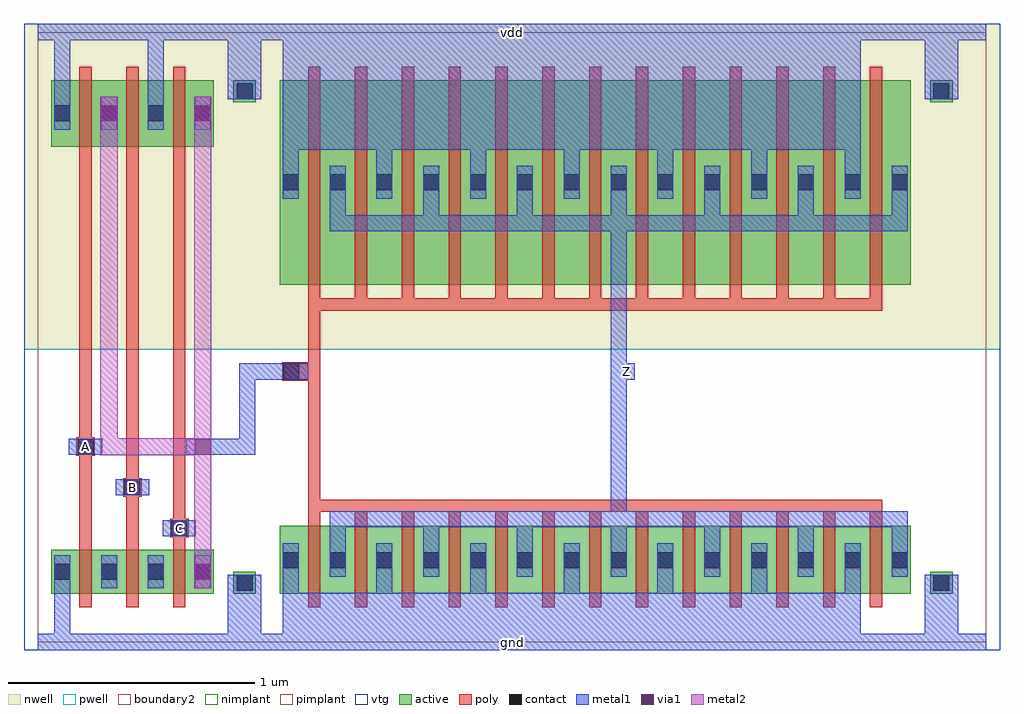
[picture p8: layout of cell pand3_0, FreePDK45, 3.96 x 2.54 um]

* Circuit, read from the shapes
.subckt pand3_0 A B C Z gnd vdd
M1 pnand3_1_0/nmos_m1_w0_180_a_p_3/D A gnd gnd nfet w=0.18u l=0.05u
M2 pnand3_1_0/nmos_m1_w0_180_a_p_4/D B pnand3_1_0/nmos_m1_w0_180_a_p_3/D gnd nfet w=0.18u l=0.05u
M3 pinv_16_1/A C pnand3_1_0/nmos_m1_w0_180_a_p_4/D gnd nfet w=0.18u l=0.05u
M4 Z pinv_16_1/A gnd gnd nfet w=0.2775u l=0.05u m=13
M5 pinv_16_1/A A vdd vdd pfet w=0.27u l=0.05u
M6 vdd B pinv_16_1/A vdd pfet w=0.27u l=0.05u
M7 pinv_16_1/A C vdd vdd pfet w=0.27u l=0.05u
M8 Z pinv_16_1/A vdd vdd pfet w=0.83u l=0.05u m=13
.ends

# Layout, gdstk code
import gdstk
lib = gdstk.Library(unit=1e-6, precision=5e-10)
def R(c, l, rs):  # rectangles x0, y0, x1, y1
    for r in rs: c.add(gdstk.rectangle(r[:2], r[2:], *l))
def A(c, l, x, y, w, h, nx, ny, dx, dy):  # array of equal rectangles
    R(c, l, [(x+i*dx, y+j*dy, x+i*dx+w, y+j*dy+h) for i in range(nx) for j in range(ny)])
active = (1, 0)
pwell = (2, 0)
nwell = (3, 0)
nimplant = (4, 0)
pimplant = (5, 0)
vtg = (6, 0)
poly = (9, 0)
contact = (10, 0)
metal1 = (11, 0)
via1 = (12, 0)
metal2 = (13, 0)
boundary2 = (239, 0)

contact_11 = lib.new_cell('contact_11')
R(contact_11, active, [(0,0.0225,0.09,0.1125)])
R(contact_11, nwell, [(-0.055,-0.0325,0.145,0.1675)])
R(contact_11, pimplant, [(0,0.0225,0.09,0.1125)])
R(contact_11, contact, [(0.0125,0.035,0.0775,0.1)])
R(contact_11, metal1, [(0.0125,0,0.0775,0.135)])

pmos_m1_w0_270_a_p = lib.new_cell('pmos_m1_w0_270_a_p')
R(pmos_m1_w0_270_a_p, active, [(0,0,0.28,0.27)])
R(pmos_m1_w0_270_a_p, nwell, [(-0.055,-0.055,0.335,0.325)])
R(pmos_m1_w0_270_a_p, pimplant, [(0,0,0.28,0.27)])
R(pmos_m1_w0_270_a_p, vtg, [(-0.055,-0.055,0.335,0.325)])
R(pmos_m1_w0_270_a_p, poly, [(0.115,-0.055,0.165,0.325), (0.115,-0.055,0.165,0.325)])
R(pmos_m1_w0_270_a_p, metal1, [(0.0125,0.0675,0.0775,0.2025), (0.2025,0.0675,0.2675,0.2025)])
R(pmos_m1_w0_270_a_p, boundary2, [(-0.055,-0.055,0.335,0.325)])
pmos_m1_w0_270_a_p.add(gdstk.Reference(contact_11, (0,0.0675)))
pmos_m1_w0_270_a_p.add(gdstk.Reference(contact_11, (0.19,0.0675)))
pmos_m1_w0_270_a_p.add(gdstk.Label('G', (0.14,0.135), layer=9, texttype=0))
pmos_m1_w0_270_a_p.add(gdstk.Label('S', (0.045,0.135), layer=11, texttype=0))
pmos_m1_w0_270_a_p.add(gdstk.Label('D', (0.235,0.135), layer=11, texttype=0))

contact_16 = lib.new_cell('contact_16')
R(contact_16, active, [(0,0.0225,0.09,0.1125)])
R(contact_16, pwell, [(-0.055,-0.0325,0.145,0.1675)])
R(contact_16, nimplant, [(0,0.0225,0.09,0.1125)])
R(contact_16, contact, [(0.0125,0.035,0.0775,0.1)])
R(contact_16, metal1, [(0.0125,0,0.0775,0.135)])

nmos_m1_w0_180_a_p = lib.new_cell('nmos_m1_w0_180_a_p')
R(nmos_m1_w0_180_a_p, active, [(0,0,0.28,0.18)])
R(nmos_m1_w0_180_a_p, pwell, [(-0.055,-0.055,0.335,0.235)])
R(nmos_m1_w0_180_a_p, nimplant, [(0,0,0.28,0.18)])
R(nmos_m1_w0_180_a_p, vtg, [(-0.055,-0.055,0.335,0.235)])
R(nmos_m1_w0_180_a_p, poly, [(0.115,-0.055,0.165,0.235), (0.115,-0.055,0.165,0.235)])
R(nmos_m1_w0_180_a_p, metal1, [(0.0125,0.0225,0.0775,0.1575), (0.2025,0.0225,0.2675,0.1575)])
R(nmos_m1_w0_180_a_p, boundary2, [(-0.055,-0.055,0.335,0.235)])
nmos_m1_w0_180_a_p.add(gdstk.Reference(contact_16, (0,0.0225)))
nmos_m1_w0_180_a_p.add(gdstk.Reference(contact_16, (0.19,0.0225)))
nmos_m1_w0_180_a_p.add(gdstk.Label('G', (0.14,0.09), layer=9, texttype=0))
nmos_m1_w0_180_a_p.add(gdstk.Label('S', (0.045,0.09), layer=11, texttype=0))
nmos_m1_w0_180_a_p.add(gdstk.Label('D', (0.235,0.09), layer=11, texttype=0))

contact_13 = lib.new_cell('contact_13')
R(contact_13, active, [(0.0225,0,0.1125,0.09)])
R(contact_13, nwell, [(-0.0325,-0.055,0.1675,0.145)])
R(contact_13, nimplant, [(0.0225,0,0.1125,0.09)])
R(contact_13, contact, [(0.035,0.0125,0.1,0.0775)])
R(contact_13, metal1, [(0,0.0125,0.135,0.0775)])

contact_17 = lib.new_cell('contact_17')
R(contact_17, active, [(0.0225,0,0.1125,0.09)])
R(contact_17, pwell, [(-0.0325,-0.055,0.1675,0.145)])
R(contact_17, pimplant, [(0.0225,0,0.1125,0.09)])
R(contact_17, contact, [(0.035,0.0125,0.1,0.0775)])
R(contact_17, metal1, [(0,0.0125,0.135,0.0775)])

contact_12 = lib.new_cell('contact_12')
R(contact_12, poly, [(0.03,0,0.105,0.075)])
R(contact_12, contact, [(0.035,0.005,0.1,0.07)])
R(contact_12, metal1, [(0,0.005,0.135,0.07)])

contact_14 = lib.new_cell('contact_14')
R(contact_14, metal1, [(0.0025,0,0.0675,0.135)])
R(contact_14, via1, [(0.0025,0.035,0.0675,0.1)])
R(contact_14, metal2, [(0,0,0.07,0.135)])

contact_19 = lib.new_cell('contact_19')
R(contact_19, metal1, [(0,0.035,0.135,0.1)])
R(contact_19, via1, [(0.035,0.035,0.1,0.1)])
R(contact_19, metal2, [(0.0325,0,0.1025,0.135)])

pnand3_1 = lib.new_cell('pnand3_1')
R(pnand3_1, pwell, [(-0.055,-0.0325,0.9825,1.1875)])
R(pnand3_1, nwell, [(-0.055,1.1875,0.9825,2.5075)])
R(pnand3_1, vtg, [(-0.055,-0.0325,0.9825,1.1875), (-0.055,1.1875,0.9825,2.5075)])
A(pnand3_1, poly, 0.17, 0.43, 0.05, 1.525, 3, 1, 0.19, 0)
R(pnand3_1, poly, [(0.55,0.425,0.575,0.5), (0.36,0.59,0.385,0.665), (0.17,0.755,0.195,0.83)])
R(pnand3_1, metal1, [(0,-0.0325,0.9275,0.0325), (0.0675,-0.0325,0.1325,0.2175), (0.7725,0,0.9075,0.24), (0.5075,0.43,0.6425,0.495), (0.3175,0.595,0.4525,0.66), (0.1275,0.76,0.2625,0.825), (0.6025,0.76,0.7375,0.825), (0.0675,2.0775,0.1325,2.5075), (0.4475,2.0775,0.5125,2.5075), (0.7725,2.235,0.9075,2.475), (0,2.4425,0.9275,2.5075)])
R(pnand3_1, metal2, [(0.635,0.3525,0.705,2.145), (0.635,0.3525,0.705,0.7925), (0.255,0.7575,0.325,0.8275), (0.29,0.7575,0.67,0.8275), (0.635,0.7575,0.705,0.8275), (0.255,0.7925,0.325,2.145)])
R(pnand3_1, boundary2, [(0,0,0.9275,2.475)])
pnand3_1.add(gdstk.Reference(pmos_m1_w0_270_a_p, (0.055,2.01)))
pnand3_1.add(gdstk.Reference(pmos_m1_w0_270_a_p, (0.245,2.01)))
pnand3_1.add(gdstk.Reference(pmos_m1_w0_270_a_p, (0.435,2.01)))
pnand3_1.add(gdstk.Reference(nmos_m1_w0_180_a_p, (0.055,0.195)))
pnand3_1.add(gdstk.Reference(nmos_m1_w0_180_a_p, (0.245,0.195)))
pnand3_1.add(gdstk.Reference(nmos_m1_w0_180_a_p, (0.435,0.195)))
pnand3_1.add(gdstk.Reference(contact_13, (0.7725,2.19)))
pnand3_1.add(gdstk.Reference(contact_17, (0.7725,0.195)))
pnand3_1.add(gdstk.Reference(contact_12, (0.5075,0.425)))
pnand3_1.add(gdstk.Reference(contact_12, (0.3175,0.59)))
pnand3_1.add(gdstk.Reference(contact_12, (0.1275,0.755)))
pnand3_1.add(gdstk.Reference(contact_14, (0.255,2.0775)))
pnand3_1.add(gdstk.Reference(contact_14, (0.635,2.0775)))
pnand3_1.add(gdstk.Reference(contact_14, (0.635,0.2175)))
pnand3_1.add(gdstk.Reference(contact_19, (0.6025,0.725)))
pnand3_1.add(gdstk.Label('gnd', (0.464,0), layer=11, texttype=0))
pnand3_1.add(gdstk.Label('vdd', (0.464,2.475), layer=11, texttype=0))
pnand3_1.add(gdstk.Label('C', (0.575,0.4625), layer=11, texttype=0))
pnand3_1.add(gdstk.Label('B', (0.385,0.6275), layer=11, texttype=0))
pnand3_1.add(gdstk.Label('A', (0.195,0.7925), layer=11, texttype=0))
pnand3_1.add(gdstk.Label('Z', (0.67,0.7925), layer=11, texttype=0))

pmos_m13_w0_830_a_p = lib.new_cell('pmos_m13_w0_830_a_p')
R(pmos_m13_w0_830_a_p, active, [(0,0,2.56,0.83)])
R(pmos_m13_w0_830_a_p, nwell, [(-0.055,-0.055,2.615,0.885)])
R(pmos_m13_w0_830_a_p, pimplant, [(0,0,2.56,0.83)])
R(pmos_m13_w0_830_a_p, vtg, [(-0.055,-0.055,2.615,0.885)])
A(pmos_m13_w0_830_a_p, poly, 0.115, -0.055, 0.05, 0.94, 13, 1, 0.19, 0)
R(pmos_m13_w0_830_a_p, poly, [(0.115,-0.105,2.445,-0.055)])
A(pmos_m13_w0_830_a_p, metal1, 0.2025, 0.25, 0.065, 0.165, 7, 1, 0.38, 0)
A(pmos_m13_w0_830_a_p, metal1, 0.0125, 0.415, 0.065, 0.165, 7, 1, 0.38, 0)
R(pmos_m13_w0_830_a_p, metal1, [(0.2025,0.2175,2.5475,0.2825), (0.0125,0.5475,2.3575,0.6125)])
R(pmos_m13_w0_830_a_p, boundary2, [(-0.055,-0.055,2.615,0.885)])
pmos_m13_w0_830_a_p.add(gdstk.Reference(contact_11, (0,0.3475)))
pmos_m13_w0_830_a_p.add(gdstk.Reference(contact_11, (0.38,0.3475)))
pmos_m13_w0_830_a_p.add(gdstk.Reference(contact_11, (0.76,0.3475)))
pmos_m13_w0_830_a_p.add(gdstk.Reference(contact_11, (1.14,0.3475)))
pmos_m13_w0_830_a_p.add(gdstk.Reference(contact_11, (1.52,0.3475)))
pmos_m13_w0_830_a_p.add(gdstk.Reference(contact_11, (1.9,0.3475)))
pmos_m13_w0_830_a_p.add(gdstk.Reference(contact_11, (2.28,0.3475)))
pmos_m13_w0_830_a_p.add(gdstk.Reference(contact_11, (0.19,0.3475)))
pmos_m13_w0_830_a_p.add(gdstk.Reference(contact_11, (0.57,0.3475)))
pmos_m13_w0_830_a_p.add(gdstk.Reference(contact_11, (0.95,0.3475)))
pmos_m13_w0_830_a_p.add(gdstk.Reference(contact_11, (1.33,0.3475)))
pmos_m13_w0_830_a_p.add(gdstk.Reference(contact_11, (1.71,0.3475)))
pmos_m13_w0_830_a_p.add(gdstk.Reference(contact_11, (2.09,0.3475)))
pmos_m13_w0_830_a_p.add(gdstk.Reference(contact_11, (2.47,0.3475)))
pmos_m13_w0_830_a_p.add(gdstk.Label('G', (1.28,-0.08), layer=9, texttype=0))
pmos_m13_w0_830_a_p.add(gdstk.Label('S', (1.185,0.58), layer=11, texttype=0))
pmos_m13_w0_830_a_p.add(gdstk.Label('D', (1.375,0.25), layer=11, texttype=0))

nmos_m13_w0_278_a_p = lib.new_cell('nmos_m13_w0_278_a_p')
R(nmos_m13_w0_278_a_p, active, [(0,0,2.56,0.2775)])
R(nmos_m13_w0_278_a_p, pwell, [(-0.055,-0.055,2.615,0.3325)])
R(nmos_m13_w0_278_a_p, nimplant, [(0,0,2.56,0.2775)])
R(nmos_m13_w0_278_a_p, vtg, [(-0.055,-0.055,2.615,0.3325)])
A(nmos_m13_w0_278_a_p, poly, 0.115, -0.055, 0.05, 0.3875, 13, 1, 0.19, 0)
R(nmos_m13_w0_278_a_p, poly, [(0.115,0.3325,2.445,0.3825)])
A(nmos_m13_w0_278_a_p, metal1, 0.0125, -0.025, 0.065, 0.165, 7, 1, 0.38, 0)
A(nmos_m13_w0_278_a_p, metal1, 0.2025, 0.14, 0.065, 0.165, 7, 1, 0.38, 0)
R(nmos_m13_w0_278_a_p, metal1, [(0.0125,-0.06,2.3575,0.005), (0.2025,0.27,2.5475,0.335)])
R(nmos_m13_w0_278_a_p, boundary2, [(-0.055,-0.055,2.615,0.3325)])
nmos_m13_w0_278_a_p.add(gdstk.Reference(contact_16, (0,0.07)))
nmos_m13_w0_278_a_p.add(gdstk.Reference(contact_16, (0.38,0.07)))
nmos_m13_w0_278_a_p.add(gdstk.Reference(contact_16, (0.76,0.07)))
nmos_m13_w0_278_a_p.add(gdstk.Reference(contact_16, (1.14,0.07)))
nmos_m13_w0_278_a_p.add(gdstk.Reference(contact_16, (1.52,0.07)))
nmos_m13_w0_278_a_p.add(gdstk.Reference(contact_16, (1.9,0.07)))
nmos_m13_w0_278_a_p.add(gdstk.Reference(contact_16, (2.28,0.07)))
nmos_m13_w0_278_a_p.add(gdstk.Reference(contact_16, (0.19,0.07)))
nmos_m13_w0_278_a_p.add(gdstk.Reference(contact_16, (0.57,0.07)))
nmos_m13_w0_278_a_p.add(gdstk.Reference(contact_16, (0.95,0.07)))
nmos_m13_w0_278_a_p.add(gdstk.Reference(contact_16, (1.33,0.07)))
nmos_m13_w0_278_a_p.add(gdstk.Reference(contact_16, (1.71,0.07)))
nmos_m13_w0_278_a_p.add(gdstk.Reference(contact_16, (2.09,0.07)))
nmos_m13_w0_278_a_p.add(gdstk.Reference(contact_16, (2.47,0.07)))
nmos_m13_w0_278_a_p.add(gdstk.Label('G', (1.28,0.3575), layer=9, texttype=0))
nmos_m13_w0_278_a_p.add(gdstk.Label('S', (1.185,-0.0275), layer=11, texttype=0))
nmos_m13_w0_278_a_p.add(gdstk.Label('D', (1.375,0.3025), layer=11, texttype=0))

pinv_16 = lib.new_cell('pinv_16')
R(pinv_16, pwell, [(-0.055,-0.0325,2.9775,1.1875)])
R(pinv_16, nwell, [(-0.055,1.1875,2.9775,2.5075)])
R(pinv_16, vtg, [(-0.055,-0.0325,2.9775,1.1875), (-0.055,1.1875,2.9775,2.5075)])
R(pinv_16, poly, [(0.17,0.5775,0.22,1.345), (0.1025,1.06,0.17,1.135)])
R(pinv_16, metal1, [(0,-0.0325,2.9225,0.0325), (0.0675,-0.0325,2.4125,0.135), (2.6725,0,2.8075,0.24), (1.3975,0.465,1.4625,1.7325), (0.035,1.065,0.17,1.13), (1.43,1.065,1.495,1.13), (0.0675,1.9975,2.4125,2.5075), (2.6725,2.235,2.8075,2.475), (0,2.4425,2.9225,2.5075)])
R(pinv_16, boundary2, [(0,0,2.9225,2.475)])
pinv_16.add(gdstk.Reference(pmos_m13_w0_830_a_p, (0.055,1.45)))
pinv_16.add(gdstk.Reference(nmos_m13_w0_278_a_p, (0.055,0.195)))
pinv_16.add(gdstk.Reference(contact_13, (2.6725,2.19)))
pinv_16.add(gdstk.Reference(contact_17, (2.6725,0.195)))
pinv_16.add(gdstk.Reference(contact_12, (0.035,1.06)))
pinv_16.add(gdstk.Label('gnd', (1.461,0), layer=11, texttype=0))
pinv_16.add(gdstk.Label('vdd', (1.461,2.475), layer=11, texttype=0))
pinv_16.add(gdstk.Label('A', (0.1025,1.0975), layer=11, texttype=0))
pinv_16.add(gdstk.Label('Z', (1.4625,1.0975), layer=11, texttype=0))

pand3_0 = lib.new_cell('pand3_0')
R(pand3_0, metal1, [(0,-0.0325,3.85,0.0325), (0.5075,0.43,0.6425,0.495), (0.3175,0.595,0.4525,0.66), (0.1275,0.76,0.2625,0.825), (0.67,0.76,0.85,0.825), (0.8175,0.76,0.8825,0.825), (0.8175,0.7925,0.8825,1.0975), (0.8175,1.065,0.8825,1.13), (0.85,1.065,1.03,1.13), (2.3575,1.065,2.4225,1.13), (0,2.4425,3.85,2.5075)])
R(pand3_0, boundary2, [(0,0,3.85,2.475)])
pand3_0.add(gdstk.Reference(pnand3_1, (0,0)))
pand3_0.add(gdstk.Reference(pinv_16, (0.9275,0)))
pand3_0.add(gdstk.Label('vdd', (1.925,2.475), layer=11, texttype=0))
pand3_0.add(gdstk.Label('gnd', (1.925,0), layer=11, texttype=0))
pand3_0.add(gdstk.Label('Z', (2.39,1.0975), layer=11, texttype=0))
pand3_0.add(gdstk.Label('A', (0.195,0.7925), layer=11, texttype=0))
pand3_0.add(gdstk.Label('B', (0.385,0.6275), layer=11, texttype=0))
pand3_0.add(gdstk.Label('C', (0.575,0.4625), layer=11, texttype=0))

lib.write_gds('pand3_0.gds')
